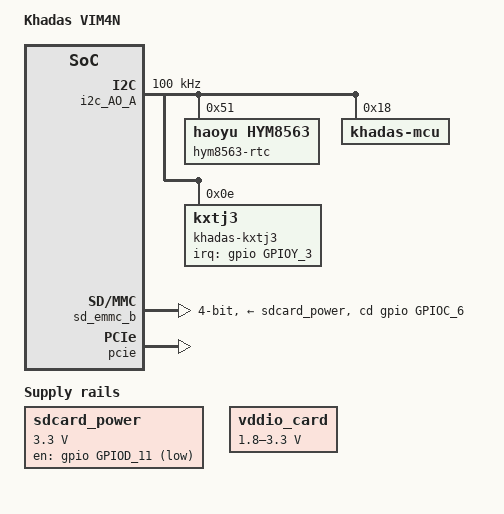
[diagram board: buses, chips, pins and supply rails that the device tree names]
#include "t7c_a311d2_an400_linux_drm_hdmitx_only_debian.dts"
#include "coreelec_t7c_common.dtsi"
#include "a311d2_khadas_vim4_base.dtsi"

/ {
	model = "Khadas VIM4N";
	coreelec-dt-id = "t7c_a311d2_khadas_vim4n";
	amlogic-dt-id = "t7c_a311d2_an400-8g";

	aliases {
		i2c6 = &i2c_AO_A;
	};

	sdcard_power: regulator-sdcard {
		compatible = "regulator-fixed";
		regulator-name = "SDCARD_POWER";
		regulator-min-microvolt = <3300000>;
		regulator-max-microvolt = <3300000>;
		gpio = <&gpio GPIOD_11 GPIO_ACTIVE_LOW>;
		regulator-boot-on;
		enable-active-low;
		regulator-always-on;
	};

	vddio_card: gpio-regulator {
		compatible = "regulator-gpio";
		regulator-name = "VDDIO_CARD";
		regulator-min-microvolt = <1800000>;
		regulator-max-microvolt = <3300000>;
		gpios = <&gpio GPIOD_9 GPIO_ACTIVE_HIGH>;
		gpios-states = <1>;
		states = <1800000 1
				3300000 0>;
	};
};

&i2c_AO_A {
	status = "okay";
	pinctrl-names="default";
	pinctrl-0=<&i2c0_ao_pins1>;
	clock-frequency = <100000>; /* default 100k */

	hym8563-rtc@51 {
		compatible = "haoyu,hym8563";
		reg = <0x51>;
	};

	khadas-mcu@18 {
		compatible = "khadas-mcu";
		reg = <0x18>;
		fan,trig_temp_level0 = <50>;
		fan,trig_temp_level1 = <60>;
		fan,trig_temp_level2 = <70>;
		fan,trig_temp_level3 = <80>;
		hwver = "VIM4.V12"; /* Will be updated in uboot. */
	};

	khadas-kxtj3@e {
		compatible = "kxtj3";
		reg = <0x0E>;
		type = <2>;
		layout = <0>;
		irq_enable = <0>;
		poll_delay_ms = <30>;
		irq-gpio = <&gpio GPIOY_3 IRQ_TYPE_EDGE_RISING>;
		status = "okay";
	};
};

/* SD card */
&sd_emmc_b {
	status = "okay";
	pinctrl-0 = <&sd_all_pins>;
	pinctrl-1 = <&sd_1bit_pins>;
	pinctrl-2 = <&sd_clk_gate_pins>;
	pinctrl-names = "sd_default",
			"sd_1bit_pins",
			"clk-gate";
	bus-width = <4>;
	cap-sd-highspeed;
	sd-uhs-sdr12;
	sd-uhs-sdr25;
	sd-uhs-sdr50;
	sd-uhs-sdr104;
	max-frequency = <200000000>;

	disable-wp;

	cd-gpios = <&gpio GPIOC_6 GPIO_ACTIVE_HIGH>;
	vmmc-supply = <&sdcard_power>;
	vqmmc-supply = <&vddio_card>;
};

&smmu {
	status = "okay";
};

&pcie {
	status = "okay";
};

&pcie_dma_ops_mm {
	status = "okay";
};
